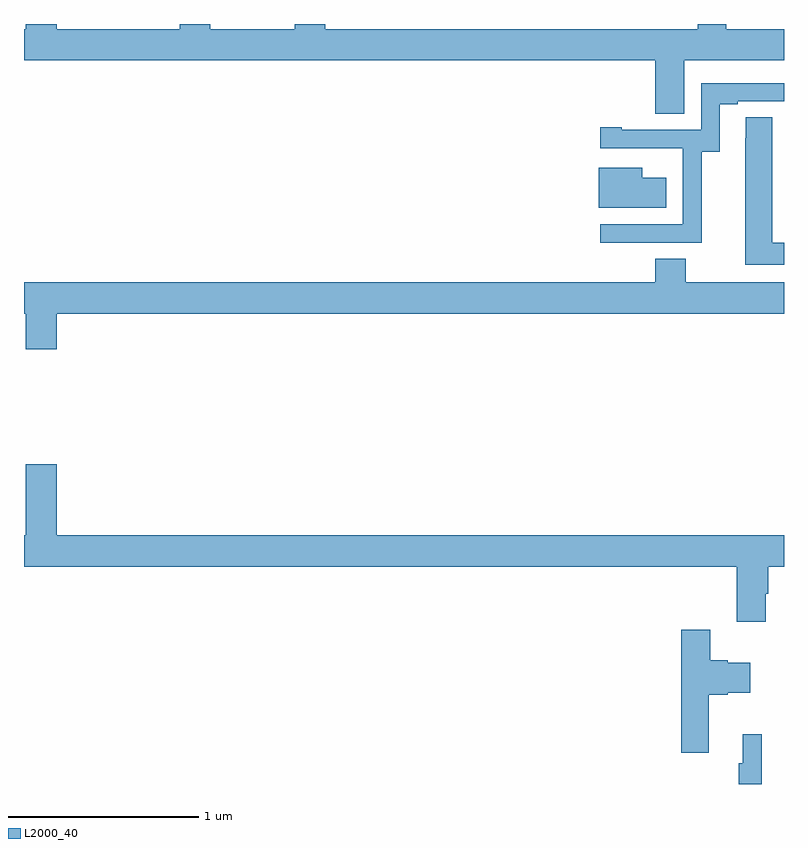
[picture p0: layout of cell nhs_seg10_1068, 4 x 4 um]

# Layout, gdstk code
import gdstk
lib = gdstk.Library(unit=1e-6, precision=1e-09)
def P(c, l, *ps):  # polygons
    for p in ps: c.add(gdstk.Polygon(p, *l))
L2000_40 = (2000, 40)

nhs_seg10_1068 = lib.new_cell('nhs_seg10_1068')
P(nhs_seg10_1068, L2000_40, [(168.475,1308.308),(169,1308.308),(169,1308.472),(168.697,1308.472),(168.697,1308.5),(168.545,1308.5),(168.545,1308.472),(166.586,1308.472),(166.586,1308.5),(166.426,1308.5),(166.426,1308.472),(165.981,1308.472),(165.981,1308.5),(165.821,1308.5),(165.821,1308.472),(165.172,1308.472),(165.172,1308.5),(165.008,1308.5),(165.008,1308.472),(165,1308.472),(165,1308.308),(168.323,1308.308),(168.323,1308.028),(168.475,1308.028)],
  [(168.567,1307.827),(168.661,1307.827),(168.661,1308.078),(168.757,1308.078),(168.757,1308.093),(169,1308.093),(169,1308.189),(168.564,1308.189),(168.564,1307.943),(168.145,1307.943),(168.145,1307.956),(168.033,1307.956),(168.033,1307.847),(168.467,1307.847),(168.467,1307.846),(168.468,1307.846),(168.468,1307.445),(168.033,1307.445),(168.033,1307.349),(168.567,1307.349)],
  [(169,1307.348),(168.937,1307.348),(168.937,1308.008),(168.798,1308.008),(168.798,1307.9),(168.797,1307.9),(168.797,1307.232),(169,1307.232)],
  [(168.379,1307.692),(168.253,1307.692),(168.253,1307.743),(168.026,1307.743),(168.026,1307.534),(168.379,1307.534)],
  [(165.172,1306.976),(169,1306.976),(169,1307.14),(168.483,1307.14),(168.483,1307.264),(168.323,1307.264),(168.323,1307.14),(165,1307.14),(165,1306.976),(165.008,1306.976),(165.008,1306.788),(165.172,1306.788)],
  [(168.904,1305.502),(168.917,1305.502),(168.917,1305.644),(169,1305.644),(169,1305.808),(165.172,1305.808),(165.172,1306.183),(165.008,1306.183),(165.008,1305.808),(165,1305.808),(165,1305.644),(168.752,1305.644),(168.752,1305.354),(168.904,1305.354)],
  [(168.604,1304.969),(168.705,1304.969),(168.705,1304.981),(168.823,1304.981),(168.823,1305.139),(168.705,1305.139),(168.705,1305.152),(168.612,1305.152),(168.612,1305.313),(168.458,1305.313),(168.458,1304.664),(168.604,1304.664)],
  [(168.882,1304.761),(168.782,1304.761),(168.782,1304.61),(168.763,1304.61),(168.763,1304.5),(168.882,1304.5)])

lib.write_gds('nhs_seg10_1068.gds')
